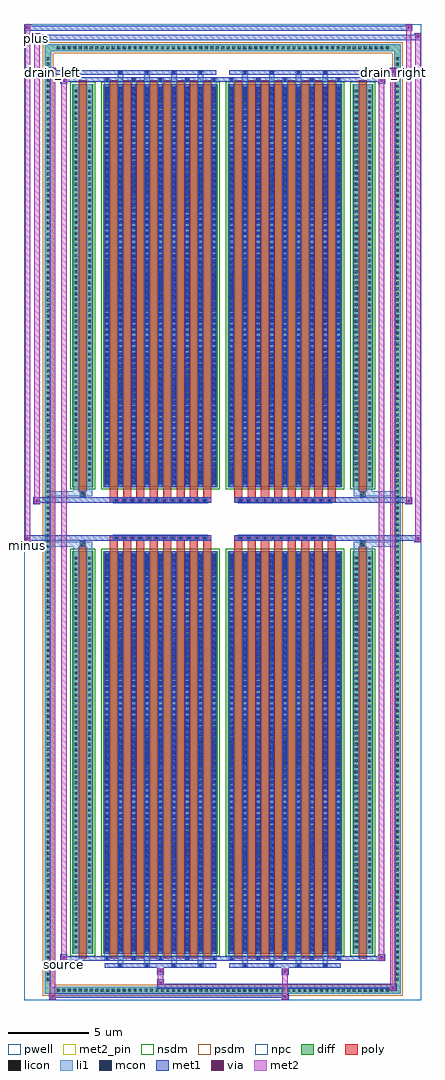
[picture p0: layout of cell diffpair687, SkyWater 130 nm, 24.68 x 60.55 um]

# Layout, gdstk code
import gdstk
lib = gdstk.Library(unit=1e-6, precision=5e-09)
def R(c, l, rs):  # rectangles x0, y0, x1, y1
    for r in rs: c.add(gdstk.rectangle(r[:2], r[2:], *l))
def A(c, l, x, y, w, h, nx, ny, dx, dy):  # array of equal rectangles
    R(c, l, [(x+i*dx, y+j*dy, x+i*dx+w, y+j*dy+h) for i in range(nx) for j in range(ny)])
def P(c, l, *ps):  # polygons
    for p in ps: c.add(gdstk.Polygon(p, *l))
pwell = (64, 44)
diff = (65, 20)
poly = (66, 20)
licon = (66, 44)
li1 = (67, 20)
mcon = (67, 44)
met1 = (68, 20)
via = (68, 44)
met2_pin = (69, 16)
met2 = (69, 20)
nsdm = (93, 44)
psdm = (94, 20)
npc = (95, 20)

diffpair687 = lib.new_cell('diffpair687')
R(diffpair687, pwell, [(-12.32,-29.84,12.32,30.71), (-9.64,-28.03,-0.01,-0.805), (0.01,-28.03,9.64,-0.805), (-9.64,0.805,-0.01,28.03), (0.01,0.805,9.64,28.03)])
A(diffpair687, diff, -10.405, -29.44, 0.41, 0.41, 61, 2, 0.34, 58.47)
A(diffpair687, diff, -11.05, -28.765, 0.41, 0.41, 1, 169, 0, 0.34)
A(diffpair687, diff, 10.64, -28.765, 0.41, 0.41, 1, 169, 0, 0.34)
R(diffpair687, diff, [(-10.405,-29.44,10.405,-29.03), (-11.05,-28.765,-10.64,28.765), (10.64,-28.765,11.05,28.765), (-9.33,-26.985,-8.05,-1.985), (-7.41,-26.985,-0.32,-1.985), (0.32,-26.985,7.41,-1.985), (8.05,-26.985,9.33,-1.985), (-9.33,1.985,-8.05,26.985), (-7.41,1.985,-0.32,26.985), (0.32,1.985,7.41,26.985), (8.05,1.985,9.33,26.985), (-10.405,29.03,10.405,29.44)])
P(diffpair687, diff, [(11.05,29.44),(-11.05,29.44),(-11.05,-29.03),(-10.64,-29.03),(-10.64,29.03),(10.64,29.03),(10.64,-29.03),(-10.64,-29.03),(-11.05,-29.03),(-11.05,-29.44),(11.05,-29.44)])
A(diffpair687, poly, -7.02, -27.235, 0.5, 25.5, 8, 2, 0.83, 28.97)
A(diffpair687, poly, 0.71, -27.235, 0.5, 25.5, 8, 2, 0.83, 28.97)
A(diffpair687, poly, -7.02, -1.735, 0.5, 0.4, 8, 2, 0.83, 3.07)
A(diffpair687, poly, 0.71, -1.735, 0.5, 0.4, 8, 2, 0.83, 3.07)
A(diffpair687, poly, -6.78, -1.335, 0.33, 0.33, 12, 2, 0.5, 2.34)
A(diffpair687, poly, 0.95, -1.335, 0.33, 0.33, 12, 2, 0.5, 2.34)
R(diffpair687, poly, [(-8.94,-27.235,-8.44,-1.735), (8.44,-27.235,8.94,-1.735), (-8.855,-1.735,-8.525,-1.405), (-8.855,-1.735,-8.525,-1.405), (8.525,-1.735,8.855,-1.405), (8.525,-1.735,8.855,-1.405), (-7.02,-1.335,-0.71,-1.005), (0.71,-1.335,7.02,-1.005), (-7.02,1.005,-0.71,1.335), (0.71,1.005,7.02,1.335), (-8.855,1.405,-8.525,1.735), (-8.855,1.405,-8.525,1.735), (8.525,1.405,8.855,1.735), (8.525,1.405,8.855,1.735), (-8.94,1.735,-8.44,27.235), (8.44,1.735,8.94,27.235)])
A(diffpair687, licon, -10.285, -29.32, 0.17, 0.17, 61, 2, 0.34, 58.47)
A(diffpair687, licon, -10.93, -28.645, 0.17, 0.17, 1, 169, 0, 0.34)
A(diffpair687, licon, 10.76, -28.645, 0.17, 0.17, 1, 169, 0, 0.34)
A(diffpair687, licon, -9.19, -26.64, 0.17, 0.17, 1, 72, 0, 0.34)
A(diffpair687, licon, -8.36, -26.64, 0.17, 0.17, 1, 72, 0, 0.34)
A(diffpair687, licon, -7.27, -26.64, 0.17, 0.17, 9, 72, 0.83, 0.34)
A(diffpair687, licon, 0.46, -26.64, 0.17, 0.17, 9, 72, 0.83, 0.34)
A(diffpair687, licon, 8.19, -26.64, 0.17, 0.17, 1, 72, 0, 0.34)
A(diffpair687, licon, 9.02, -26.64, 0.17, 0.17, 1, 72, 0, 0.34)
A(diffpair687, licon, -6.7, -1.255, 0.17, 0.17, 12, 2, 0.5, 2.34)
A(diffpair687, licon, 1.03, -1.255, 0.17, 0.17, 12, 2, 0.5, 2.34)
A(diffpair687, licon, -9.19, 2.33, 0.17, 0.17, 1, 72, 0, 0.34)
A(diffpair687, licon, -8.36, 2.33, 0.17, 0.17, 1, 72, 0, 0.34)
A(diffpair687, licon, -7.27, 2.33, 0.17, 0.17, 9, 72, 0.83, 0.34)
A(diffpair687, licon, 0.46, 2.33, 0.17, 0.17, 9, 72, 0.83, 0.34)
A(diffpair687, licon, 8.19, 2.33, 0.17, 0.17, 1, 72, 0, 0.34)
A(diffpair687, licon, 9.02, 2.33, 0.17, 0.17, 1, 72, 0, 0.34)
R(diffpair687, licon, [(-8.775,-1.655,-8.605,-1.485), (8.605,-1.655,8.775,-1.485), (-8.775,1.485,-8.605,1.655), (8.605,1.485,8.775,1.655)])
A(diffpair687, li1, -10.365, -29.4, 0.33, 0.33, 61, 2, 0.34, 58.47)
A(diffpair687, li1, -11.01, -28.725, 0.33, 0.33, 1, 169, 0, 0.34)
A(diffpair687, li1, 10.68, -28.725, 0.33, 0.33, 1, 169, 0, 0.34)
A(diffpair687, li1, -6.52, -27.79, 0.33, 0.805, 4, 2, 1.66, 54.775)
A(diffpair687, li1, -6.44, -27.79, 0.17, 0.17, 4, 2, 1.66, 55.41)
A(diffpair687, li1, 1.21, -27.79, 0.33, 0.805, 4, 2, 1.66, 54.775)
A(diffpair687, li1, 1.29, -27.79, 0.17, 0.17, 4, 2, 1.66, 55.41)
A(diffpair687, li1, -7.35, -27.36, 0.33, 0.375, 5, 2, 1.66, 54.345)
A(diffpair687, li1, -7.27, -27.36, 0.17, 0.17, 5, 2, 1.66, 54.55)
A(diffpair687, li1, 0.38, -27.36, 0.33, 0.375, 5, 2, 1.66, 54.345)
A(diffpair687, li1, 0.46, -27.36, 0.17, 0.17, 5, 2, 1.66, 54.55)
A(diffpair687, li1, -7.35, -26.985, 0.33, 25, 9, 2, 0.83, 28.97)
A(diffpair687, li1, 0.38, -26.985, 0.33, 25, 9, 2, 0.83, 28.97)
A(diffpair687, li1, -7.27, -26.81, 0.17, 0.17, 9, 69, 0.83, 0.36)
A(diffpair687, li1, -7.27, -26.81, 0.17, 24.65, 9, 2, 0.83, 28.97)
A(diffpair687, li1, 0.46, -26.81, 0.17, 0.17, 9, 69, 0.83, 0.36)
A(diffpair687, li1, 0.46, -26.81, 0.17, 24.65, 9, 2, 0.83, 28.97)
A(diffpair687, li1, -9.27, -26.72, 0.33, 0.33, 1, 72, 0, 0.34)
A(diffpair687, li1, -8.44, -26.72, 0.33, 0.33, 1, 72, 0, 0.34)
A(diffpair687, li1, -7.35, -26.72, 0.33, 0.33, 9, 72, 0.83, 0.34)
A(diffpair687, li1, 0.38, -26.72, 0.33, 0.33, 9, 72, 0.83, 0.34)
A(diffpair687, li1, 8.11, -26.72, 0.33, 0.33, 1, 72, 0, 0.34)
A(diffpair687, li1, 8.94, -26.72, 0.33, 0.33, 1, 72, 0, 0.34)
A(diffpair687, li1, -6.78, -1.335, 0.33, 0.33, 12, 2, 0.5, 2.34)
A(diffpair687, li1, 0.95, -1.335, 0.33, 0.33, 12, 2, 0.5, 2.34)
A(diffpair687, li1, -7.27, 2.16, 0.17, 0.17, 9, 69, 0.83, 0.36)
A(diffpair687, li1, 0.46, 2.16, 0.17, 0.17, 9, 69, 0.83, 0.36)
A(diffpair687, li1, -9.27, 2.25, 0.33, 0.33, 1, 72, 0, 0.34)
A(diffpair687, li1, -8.44, 2.25, 0.33, 0.33, 1, 72, 0, 0.34)
A(diffpair687, li1, -7.35, 2.25, 0.33, 0.33, 9, 72, 0.83, 0.34)
A(diffpair687, li1, 0.38, 2.25, 0.33, 0.33, 9, 72, 0.83, 0.34)
A(diffpair687, li1, 8.11, 2.25, 0.33, 0.33, 1, 72, 0, 0.34)
A(diffpair687, li1, 8.94, 2.25, 0.33, 0.33, 1, 72, 0, 0.34)
R(diffpair687, li1, [(-11.05,-29.44,-10.64,-29.03), (-11.05,-29.44,-10.64,-29.03), (-10.64,-29.44,10.64,-29.03), (10.64,-29.44,11.05,-29.03), (10.64,-29.44,11.05,-29.03), (-11.05,-29.03,-10.64,29.03), (10.64,-29.03,11.05,29.03), (-9.27,-26.985,-8.94,-1.985), (-8.44,-26.985,-8.11,-1.985), (8.11,-26.985,8.44,-1.985), (8.94,-26.985,9.27,-1.985), (-9.27,-1.985,-8.94,-1.405), (-8.44,-1.985,-8.11,-1.405), (8.11,-1.985,8.44,-1.405), (8.94,-1.985,9.27,-1.405), (-11.05,-1.735,-8.855,-1.405), (-9.27,-1.735,-8.855,-1.405), (-8.855,-1.735,-8.525,-1.405), (-8.525,-1.735,-8.11,-1.405), (8.11,-1.735,8.525,-1.405), (8.525,-1.735,8.855,-1.405), (8.525,-1.735,11.05,-1.405), (8.855,-1.735,9.27,-1.405), (-11.05,1.405,-8.855,1.735), (-9.27,1.405,-8.855,1.735), (-9.27,1.405,-8.94,1.985), (-8.855,1.405,-8.525,1.735), (-8.525,1.405,-8.11,1.735), (-8.44,1.405,-8.11,1.985), (8.11,1.405,8.525,1.735), (8.11,1.405,8.44,1.985), (8.525,1.405,8.855,1.735), (8.525,1.405,11.05,1.735), (8.855,1.405,9.27,1.735), (8.94,1.405,9.27,1.985), (-9.27,1.985,-8.94,26.985), (-8.44,1.985,-8.11,26.985), (8.11,1.985,8.44,26.985), (8.94,1.985,9.27,26.985), (-11.05,29.03,-10.64,29.44), (-11.05,29.03,-10.64,29.44), (-10.64,29.03,10.64,29.44), (10.64,29.03,11.05,29.44), (10.64,29.03,11.05,29.44)])
A(diffpair687, mcon, -6.44, -27.79, 0.17, 0.17, 4, 2, 1.66, 55.41)
A(diffpair687, mcon, 1.29, -27.79, 0.17, 0.17, 4, 2, 1.66, 55.41)
A(diffpair687, mcon, -7.27, -27.36, 0.17, 0.17, 5, 2, 1.66, 54.55)
A(diffpair687, mcon, 0.46, -27.36, 0.17, 0.17, 5, 2, 1.66, 54.55)
A(diffpair687, mcon, -7.27, -26.81, 0.17, 0.17, 9, 69, 0.83, 0.36)
A(diffpair687, mcon, 0.46, -26.81, 0.17, 0.17, 9, 69, 0.83, 0.36)
A(diffpair687, mcon, -6.7, -1.255, 0.17, 0.17, 12, 2, 0.5, 2.34)
A(diffpair687, mcon, 1.03, -1.255, 0.17, 0.17, 12, 2, 0.5, 2.34)
A(diffpair687, mcon, -7.27, 2.16, 0.17, 0.17, 9, 69, 0.83, 0.36)
A(diffpair687, mcon, 0.46, 2.16, 0.17, 0.17, 9, 69, 0.83, 0.36)
A(diffpair687, met1, -6.5, -27.85, 0.29, 0.29, 4, 2, 1.66, 55.41)
A(diffpair687, met1, 1.23, -27.85, 0.29, 0.29, 4, 2, 1.66, 55.41)
A(diffpair687, met1, -7.33, -27.42, 0.29, 0.29, 5, 2, 1.66, 54.55)
A(diffpair687, met1, 0.4, -27.42, 0.29, 0.29, 5, 2, 1.66, 54.55)
A(diffpair687, met1, -7.33, -26.985, 0.29, 25, 9, 2, 0.83, 28.97)
A(diffpair687, met1, 0.4, -26.985, 0.29, 25, 9, 2, 0.83, 28.97)
A(diffpair687, met1, -7.33, -26.87, 0.29, 0.29, 9, 69, 0.83, 0.36)
A(diffpair687, met1, 0.4, -26.87, 0.29, 0.29, 9, 69, 0.83, 0.36)
A(diffpair687, met1, -6.76, -1.315, 0.29, 0.29, 12, 2, 0.5, 2.34)
A(diffpair687, met1, 0.97, -1.315, 0.29, 0.29, 12, 2, 0.5, 2.34)
A(diffpair687, met1, -7.33, 2.1, 0.29, 0.29, 9, 69, 0.83, 0.36)
A(diffpair687, met1, 0.4, 2.1, 0.29, 0.29, 9, 69, 0.83, 0.36)
R(diffpair687, met1, [(-10.78,-29.84,-10.35,-29.41), (3.65,-29.84,4.08,-29.41), (-10.78,-29.7,4.08,-29.41), (10.35,-29.27,10.78,-28.84), (-4.08,-29.13,10.78,-28.84), (-4.08,-28.99,-3.65,-28.56), (-4.08,-28.28,-3.65,-27.85), (3.65,-28.28,4.08,-27.85), (-7.33,-27.85,-0.4,-27.56), (0.4,-27.85,7.33,-27.56), (-10.07,-27.42,-9.64,-26.99), (-10.07,-27.42,-7.33,-27.13), (-7.33,-27.42,-0.4,-27.13), (-0.4,-27.42,0.4,-27.13), (0.4,-27.42,7.33,-27.13), (7.33,-27.42,10.07,-27.13), (9.64,-27.42,10.07,-26.99), (-12.32,-1.435,-11.89,-1.005), (11.89,-1.435,12.32,-1.005), (-12.32,-1.335,-0.71,-1.005), (-7.02,-1.335,-0.71,-1.005), (0.71,-1.335,7.02,-1.005), (0.71,-1.335,12.32,-1.005), (-11.75,0.905,-11.32,1.335), (11.32,0.905,11.75,1.335), (-11.75,1.005,-7.02,1.335), (-7.02,1.005,-0.71,1.335), (0.71,1.005,7.02,1.335), (7.02,1.005,11.75,1.335), (-10.07,26.99,-9.64,27.42), (9.64,26.99,10.07,27.42), (-10.07,27.13,-7.33,27.42), (-7.33,27.13,-0.4,27.42), (-0.4,27.13,0.4,27.42), (0.4,27.13,7.33,27.42), (7.33,27.13,10.07,27.42), (-10.78,27.56,-10.35,27.99), (-10.78,27.56,-7.33,27.85), (-7.33,27.56,-0.4,27.85), (0.4,27.56,7.33,27.85), (7.33,27.56,10.78,27.85), (10.35,27.56,10.78,27.99), (-11.75,29.71,-11.32,30.14), (-11.75,29.71,-9.64,30.04), (-9.64,29.71,9.64,30.04), (9.64,29.71,12.32,30.04), (11.89,29.71,12.32,30.14), (-12.32,30.28,-11.89,30.71), (-12.32,30.28,-9.64,30.61), (-9.64,30.28,9.64,30.61), (9.64,30.28,11.75,30.61), (11.32,30.28,11.75,30.71)])
R(diffpair687, via, [(-10.64,-29.7,-10.49,-29.55), (3.79,-29.7,3.94,-29.55), (10.49,-29.13,10.64,-28.98), (-3.94,-28.85,-3.79,-28.7), (-3.94,-28.14,-3.79,-27.99), (3.79,-28.14,3.94,-27.99), (-9.93,-27.28,-9.78,-27.13), (9.78,-27.28,9.93,-27.13), (-12.18,-1.295,-12.03,-1.145), (12.03,-1.295,12.18,-1.145), (-11.61,1.045,-11.46,1.195), (11.46,1.045,11.61,1.195), (-9.93,27.13,-9.78,27.28), (9.78,27.13,9.93,27.28), (-10.64,27.7,-10.49,27.85), (10.49,27.7,10.64,27.85), (-11.61,29.85,-11.46,30), (12.03,29.85,12.18,30), (-12.18,30.42,-12.03,30.57), (11.46,30.42,11.61,30.57)])
R(diffpair687, met2_pin, [(-10.105,-27.87,-9.605,-27.37), (-12.355,-1.885,-11.855,-1.385), (-10.815,27.44,-10.315,27.94), (10.315,27.44,10.815,27.94), (-11.785,29.59,-11.285,30.09)])
R(diffpair687, met2, [(-10.73,-29.79,-10.4,-29.46), (-10.73,-29.79,-10.4,27.94), (3.7,-29.79,4.03,-29.46), (3.7,-29.46,4.03,-28.23), (10.4,-29.22,10.73,-28.89), (10.4,-29.22,10.73,27.94), (-4.03,-28.94,-3.7,-28.61), (-4.03,-28.61,-3.7,-28.23), (-4.03,-28.23,-3.7,-27.9), (3.7,-28.23,4.03,-27.9), (-10.02,-27.37,-9.69,-27.04), (-10.02,-27.37,-9.69,27.37), (9.69,-27.37,10.02,-27.04), (9.69,-27.37,10.02,27.37), (-12.27,-1.385,-11.94,-1.055), (-12.27,-1.385,-11.94,30.66), (11.94,-1.385,12.27,-1.055), (11.94,-1.385,12.27,30.09), (-11.7,0.955,-11.37,1.285), (-11.7,0.955,-11.37,30.09), (11.37,0.955,11.7,1.285), (11.37,0.955,11.7,30.66), (-10.02,27.04,-9.69,27.37), (9.69,27.04,10.02,27.37), (-10.73,27.61,-10.4,27.94), (10.4,27.61,10.73,27.94), (-11.7,29.76,-11.37,30.09), (11.94,29.76,12.27,30.09), (-12.27,30.33,-11.94,30.66), (11.37,30.33,11.7,30.66)])
P(diffpair687, met2, [(12.27,-1.385),(12.27,-1.385),(12.27,-1.055),(12.27,-1.055)],
  [(12.27,29.76),(12.27,29.76),(12.27,30.09),(12.27,30.09)],
  [(-11.94,-1.385),(-11.94,-1.385),(-11.94,-1.055),(-11.94,-1.055)],
  [(-11.94,30.33),(-11.94,30.33),(-11.94,30.66),(-11.94,30.66)],
  [(11.7,0.955),(11.7,0.955),(11.7,1.285),(11.7,1.285)],
  [(11.7,30.33),(11.7,30.33),(11.7,30.66),(11.7,30.66)],
  [(-11.37,0.955),(-11.37,0.955),(-11.37,1.285),(-11.37,1.285)],
  [(-11.37,29.76),(-11.37,29.76),(-11.37,30.09),(-11.37,30.09)],
  [(-10.4,-29.79),(-10.4,-29.79),(-10.4,-29.46),(-10.4,-29.46)],
  [(-10.4,27.61),(-10.4,27.61),(-10.4,27.94),(-10.4,27.94)],
  [(10.73,-29.22),(10.73,-29.22),(10.73,-28.89),(10.73,-28.89)],
  [(10.73,27.61),(10.73,27.61),(10.73,27.94),(10.73,27.94)],
  [(-9.69,-27.37),(-9.69,-27.37),(-9.69,-27.04),(-9.69,-27.04)],
  [(-9.69,27.04),(-9.69,27.04),(-9.69,27.37),(-9.69,27.37)],
  [(10.02,-27.37),(10.02,-27.37),(10.02,-27.04),(10.02,-27.04)],
  [(10.02,27.04),(10.02,27.04),(10.02,27.37),(10.02,27.37)])
R(diffpair687, nsdm, [(-9.46,-27.115,-7.92,-1.855), (-7.54,-27.115,-0.19,-1.855), (0.19,-27.115,7.54,-1.855), (7.92,-27.115,9.46,-1.855), (-9.46,1.855,-7.92,27.115), (-7.54,1.855,-0.19,27.115), (0.19,1.855,7.54,27.115), (7.92,1.855,9.46,27.115)])
P(diffpair687, psdm, [(11.18,29.57),(-11.18,29.57),(-11.18,-28.9),(-10.51,-28.9),(-10.51,28.9),(10.51,28.9),(10.51,-28.9),(-10.51,-28.9),(-11.18,-28.9),(-11.18,-29.57),(11.18,-29.57)])
A(diffpair687, npc, -6.8, -1.355, 0.37, 0.37, 12, 2, 0.5, 2.34)
A(diffpair687, npc, 0.93, -1.355, 0.37, 0.37, 12, 2, 0.5, 2.34)
R(diffpair687, npc, [(-8.875,-1.755,-8.505,-1.385), (8.505,-1.755,8.875,-1.385), (-6.8,-1.355,-5.93,-0.985), (-6.8,-1.355,-5.93,-0.985), (-6.3,-1.355,-5.43,-0.985), (-6.3,-1.355,-5.43,-0.985), (-5.8,-1.355,-4.93,-0.985), (-5.8,-1.355,-4.93,-0.985), (-5.3,-1.355,-4.43,-0.985), (-5.3,-1.355,-4.43,-0.985), (-4.8,-1.355,-3.93,-0.985), (-4.8,-1.355,-3.93,-0.985), (-4.3,-1.355,-3.43,-0.985), (-4.3,-1.355,-3.43,-0.985), (-3.8,-1.355,-2.93,-0.985), (-3.8,-1.355,-2.93,-0.985), (-3.3,-1.355,-2.43,-0.985), (-3.3,-1.355,-2.43,-0.985), (-2.8,-1.355,-1.93,-0.985), (-2.8,-1.355,-1.93,-0.985), (-2.3,-1.355,-1.43,-0.985), (-2.3,-1.355,-1.43,-0.985), (-1.8,-1.355,-0.93,-0.985), (-1.8,-1.355,-0.93,-0.985), (0.93,-1.355,1.8,-0.985), (0.93,-1.355,1.8,-0.985), (1.43,-1.355,2.3,-0.985), (1.43,-1.355,2.3,-0.985), (1.93,-1.355,2.8,-0.985), (1.93,-1.355,2.8,-0.985), (2.43,-1.355,3.3,-0.985), (2.43,-1.355,3.3,-0.985), (2.93,-1.355,3.8,-0.985), (2.93,-1.355,3.8,-0.985), (3.43,-1.355,4.3,-0.985), (3.43,-1.355,4.3,-0.985), (3.93,-1.355,4.8,-0.985), (3.93,-1.355,4.8,-0.985), (4.43,-1.355,5.3,-0.985), (4.43,-1.355,5.3,-0.985), (4.93,-1.355,5.8,-0.985), (4.93,-1.355,5.8,-0.985), (5.43,-1.355,6.3,-0.985), (5.43,-1.355,6.3,-0.985), (5.93,-1.355,6.8,-0.985), (5.93,-1.355,6.8,-0.985), (-6.8,0.985,-5.93,1.355), (-6.8,0.985,-5.93,1.355), (-6.3,0.985,-5.43,1.355), (-6.3,0.985,-5.43,1.355), (-5.8,0.985,-4.93,1.355), (-5.8,0.985,-4.93,1.355), (-5.3,0.985,-4.43,1.355), (-5.3,0.985,-4.43,1.355), (-4.8,0.985,-3.93,1.355), (-4.8,0.985,-3.93,1.355), (-4.3,0.985,-3.43,1.355), (-4.3,0.985,-3.43,1.355), (-3.8,0.985,-2.93,1.355), (-3.8,0.985,-2.93,1.355), (-3.3,0.985,-2.43,1.355), (-3.3,0.985,-2.43,1.355), (-2.8,0.985,-1.93,1.355), (-2.8,0.985,-1.93,1.355), (-2.3,0.985,-1.43,1.355), (-2.3,0.985,-1.43,1.355), (-1.8,0.985,-0.93,1.355), (-1.8,0.985,-0.93,1.355), (0.93,0.985,1.8,1.355), (0.93,0.985,1.8,1.355), (1.43,0.985,2.3,1.355), (1.43,0.985,2.3,1.355), (1.93,0.985,2.8,1.355), (1.93,0.985,2.8,1.355), (2.43,0.985,3.3,1.355), (2.43,0.985,3.3,1.355), (2.93,0.985,3.8,1.355), (2.93,0.985,3.8,1.355), (3.43,0.985,4.3,1.355), (3.43,0.985,4.3,1.355), (3.93,0.985,4.8,1.355), (3.93,0.985,4.8,1.355), (4.43,0.985,5.3,1.355), (4.43,0.985,5.3,1.355), (4.93,0.985,5.8,1.355), (4.93,0.985,5.8,1.355), (5.43,0.985,6.3,1.355), (5.43,0.985,6.3,1.355), (5.93,0.985,6.8,1.355), (5.93,0.985,6.8,1.355), (-8.875,1.385,-8.505,1.755), (8.505,1.385,8.875,1.755)])
diffpair687.add(gdstk.Label('minus', (-12.105,-1.635), layer=69, texttype=5))
diffpair687.add(gdstk.Label('drain_right', (10.565,27.69), layer=69, texttype=5))
diffpair687.add(gdstk.Label('drain_left', (-10.565,27.69), layer=69, texttype=5))
diffpair687.add(gdstk.Label('source', (-9.855,-27.62), layer=69, texttype=5))
diffpair687.add(gdstk.Label('plus', (-11.535,29.84), layer=69, texttype=5))

lib.write_gds('diffpair687.gds')
